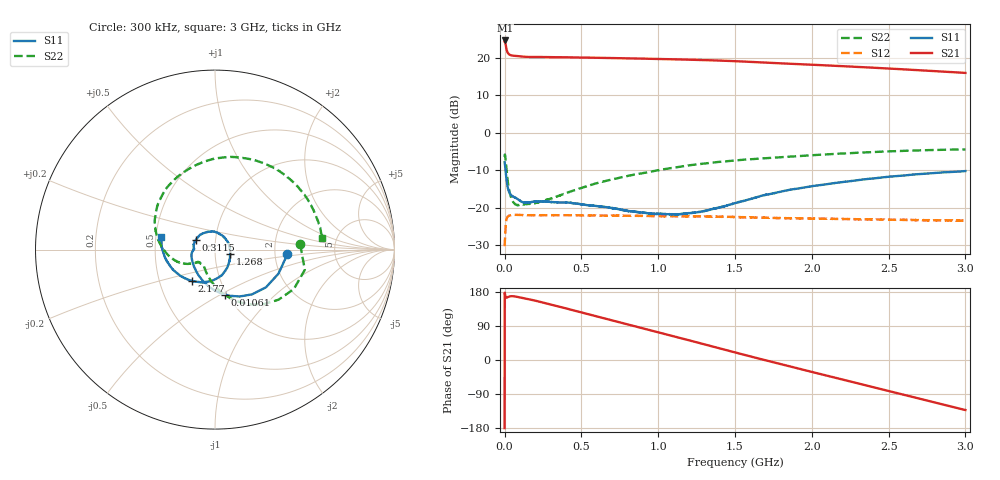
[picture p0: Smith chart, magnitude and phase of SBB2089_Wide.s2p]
!Agilent Technologies,N5230A,US44240068,A.07.50.67
!Agilent N5230A: A.07.50.67
!Date: Wednesday, November 10, 2021 19:10:58
!Correction: S11(Full 2 Port(1,2))
!S21(Full 2 Port(1,2))
!S12(Full 2 Port(1,2))
!S22(Full 2 Port(1,2))
!S2P File: Measurements: S11, S21, S12, S22:
# Hz S  dB  R 50
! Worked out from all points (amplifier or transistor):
!   3201 points, 300 kHz to 3 GHz, reference 50 ohm
!   highest |S21| = 24.6 dB at 1.237 MHz (marker M1)
!   |S21| within 3 dB of that: start of sweep to 17.37 MHz
!   unconditionally stable (mu >= 1): 84.89 MHz to 892.6 MHz; 902.5 MHz to 907.2 MHz; 2.338 GHz to end of sweep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
!   at 499.9 MHz: K = 1.01, MAG = 20.5 dB, |S12| = -22.0 dB
!   at 1.5 GHz: K = 0.98, MSG = 20.8 dB, |S12| = -22.5 dB
!   at 3 GHz: K = 1.05, MAG = 18.4 dB, |S12| = -23.5 dB
!   S11 on the Smith chart (normalised r, x): 300 kHz: 2.35, -0.15; 10.61 MHz: 0.98, -0.53; 311.5 MHz: 0.80, +0.09; 1.268 GHz: 1.18, -0.06; 2.177 GHz: 0.73, -0.27; 3 GHz: 0.53, +0.08
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300000  -7.87 -3.8  24.32 -179.8  -30.24 5.4  -6.46 3.4
1237406  -8.23 -12.5  24.60 177.7  -29.43 13.1  -5.87 -5.0
1.061147e7  -11.77 -77.3  22.60 164.5  -23.48 20.2  -9.11 -59.7
1.811072e7  -14.03 -104.4  21.53 165.4  -22.47 13.1  -12.13 -80.0
2.467256e7  -15.23 -119.9  21.08 166.7  -22.20 9.2  -14.11 -91.6
4.154588e7  -16.59 -143.6  20.66 168.3  -21.95 3.6  -17.11 -109.7
1.409109e8  -18.65 177.7  20.23 161.8  -21.97 -8.2  -19.02 -138.9
3.115189e8  -18.47 152.3  20.15 145.3  -21.96 -20.3  -17.42 -146.2
5.008749e8  -19.09 124.2  20.05 125.5  -22.05 -33.8  -14.71 -154.6
6.264874e8  -19.72 104.7  19.96 112.4  -22.08 -42.3  -13.17 -162.1
7.605365e8  -20.54 81.4  19.88 98.4  -22.12 -51.4  -11.88 -171.0
1.000512e9  -21.61 34.1  19.66 73.1  -22.21 -67.4  -9.99 171.5
1.131749e9  -21.74 7.9  19.55 59.3  -22.29 -76.1  -9.14 161.6
1.267673e9  -21.12 -16.5  19.41 44.9  -22.32 -85.6  -8.38 150.8
1.50015e9  -18.75 -51.0  19.08 20.1  -22.47 -101.1  -7.38 132.0
1.734502e9  -16.26 -80.3  18.63 -4.4  -22.72 -116.8  -6.70 113.7
2.000725e9  -14.26 -110.2  18.13 -31.5  -22.88 -133.5  -5.98 92.9
2.176957e9  -13.27 -126.7  17.80 -49.5  -22.99 -144.9  -5.58 78.6
2.34569e9  -12.40 -141.4  17.45 -66.5  -23.07 -155.6  -5.24 64.6
2.500362e9  -11.73 -154.5  17.12 -82.2  -23.19 -165.5  -4.96 51.3
2.735651e9  -10.93 -173.1  16.58 -105.8  -23.30 179.7  -4.65 30.6
3e9  -10.22 166.8  15.95 -132.1  -23.46 162.9  -4.44 6.4
